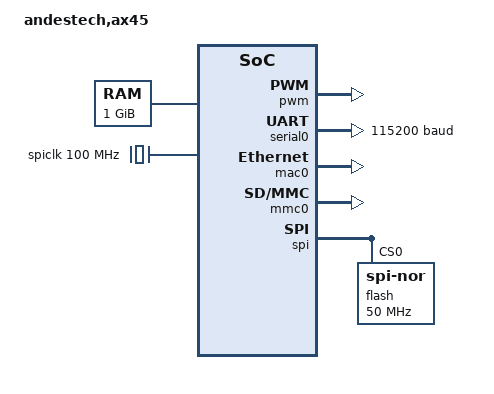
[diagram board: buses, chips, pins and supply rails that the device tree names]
/dts-v1/;

/ {
	#address-cells = <2>;
	#size-cells = <2>;
	compatible = "andestech,ae350";
	model = "andestech,ax45";
	aliases {
		uart0 = &serial0;
		spi0 = &spi;
	};

	chosen {
		bootargs = "console=ttyS0,115200n8 debug loglevel=7 earlycon=sbi";
		stdout-path = "uart0:115200n8";
	};
	cpus {
		#address-cells = <1>;
		#size-cells = <0>;
		timebase-frequency = <60000000>;
		CPU0: cpu@0 {
			device_type = "cpu";
			reg = <0>;
			status = "okay";
			compatible = "riscv";
			riscv,isa = "rv64imafdcv_sscofpmf_svpbmt_zicbom_xandes_xandespmu_xandesvmm";
			riscv,cbom-block-size = <64>;
			mmu-type = "riscv,sv48";
			clock-frequency = <60000000>;
			i-cache-size = <0x8000>;
			i-cache-sets = <256>;
			i-cache-line-size = <64>;
			i-cache-block-size = <64>;
			d-cache-size = <0x8000>;
			d-cache-sets = <128>;
			d-cache-line-size = <64>;
			d-cache-block-size = <64>;
			next-level-cache = <&L2>;
			CPU0_intc: interrupt-controller {
				#interrupt-cells = <1>;
				interrupt-controller;
				compatible = "andestech,cpu-intc", "riscv,cpu-intc";
			};
		};
	};
	L2: l2-cache@e0500000 {
		compatible = "cache";
		cache-level = <2>;
		cache-size = <0x200000>;
		reg = <0x00000000 0xe0500000 0x00000000 0x00010000>;
		andes,inst-prefetch = <3>;
		andes,data-prefetch = <3>;
		// The value format is <XRAMOCTL XRAMICTL>
		andes,tag-ram-ctl = <0 0>;
		andes,data-ram-ctl = <0 0>;
	};
	reserved-memory {
		#address-cells = <2>;
		#size-cells = <2>;
		ranges;

		hvm0: andes_hvm@90000000 {
			compatible = "andestech,hvm";
			reg = <0x0 0x90000000 0x0 0x800000>;
			andes,hvm_bank = <0x02>;
			andes,hvm_subp = <0x01>;
			no-map;
		};
		andes_inject@100000 {
			compatible = "inject";
			reg = <0x00 0x100000 0x00 0x100000>;
			reusable;
		};
	};
	memory@0 {
		reg = <0x00000000 0x00000000 0x00000000 0x40000000>;
		device_type = "memory";
	};
	soc {
		#address-cells = <2>;
		#size-cells = <2>;
		compatible = "andestech,riscv-ae350-soc", "simple-bus";
		ranges;
		plic0: interrupt-controller@e4000000 {
			compatible = "riscv,plic0";
			reg = <0x00000000 0xe4000000 0x00000000 0x02000000>;
			interrupts-extended = < &CPU0_intc 11 &CPU0_intc 9>;
			interrupt-controller;
			#address-cells = <2>;
			#interrupt-cells = <2>;
			riscv,ndev = <71>;
		};
		plic1: interrupt-controller@e6400000 {
			compatible = "andestech,plicsw";
			reg = <0x00000000 0xe6400000 0x00000000 0x00400000>;
			interrupts-extended = < &CPU0_intc 3>;
			interrupt-controller;
			#address-cells = <2>;
			#interrupt-cells = <2>;
			riscv,ndev = <1>;
		};
		plmt0: plmt0@e6000000 {
			compatible = "andestech,plmt0";
			reg = <0x00000000 0xe6000000 0x00000000 0x00100000>;
			interrupts-extended = < &CPU0_intc 7>;
		};
		spiclk: virt_100mhz {
			compatible = "fixed-clock";
			#clock-cells = <0>;
			clock-frequency = <100000000>;
		};
		timer0: timer@f0400000 {
			compatible = "andestech,atcpit100";
			reg = <0x00000000 0xf0400000 0x00000000 0x00001000>;
			interrupts = <3 4>;
			interrupt-parent = <&plic0>;
			clock-frequency = <60000000>;
		};
		pwm: pwm@f0400000 {
			compatible = "andestech,atcpit100-pwm";
			reg = <0x00000000 0xf0400000 0x00000000 0x00001000>;
			interrupts = <3 4>;
			interrupt-parent = <&plic0>;
			clock-frequency = <60000000>;
			pwm-cells = <2>;
		};
		wdt: wdt@f0500000 {
			compatible = "andestech,atcwdt200";
			reg = <0x00000000 0xf0500000 0x00000000 0x00001000>;
			interrupts = <3 4>;
			interrupt-parent = <&plic0>;
			clock-frequency = <60000000>;
		};
		serial0: serial@f0300000 {
			compatible = "andestech,uart16550", "ns16550a";
			reg = <0x00000000 0xf0300000 0x00000000 0x00001000>;
			interrupts = <9 4>;
			interrupt-parent = <&plic0>;
			clock-frequency = <19660800>;
			current-speed = <115200>;
			reg-shift = <2>;
			reg-offset = <32>;
			reg-io-width = <4>;
			no-loopback-test = <1>;
		};
		rtc0: rtc@f0600000 {
			compatible = "andestech,atcrtc100";
			reg = <0x00000000 0xf0600000 0x00000000 0x00001000>;
			interrupts = <1 4 2 4>;
			interrupt-parent = <&plic0>;
			wakeup-source;
		};
		gpio: gpio@f0700000 {
			compatible = "andestech,atcgpio100";
			reg = <0x00000000 0xf0700000 0x00000000 0x00001000>;
			interrupts = <7 4>;
			interrupt-parent = <&plic0>;
			wakeup-source;
		};
		mac0: mac@e0100000 {
			compatible = "andestech,atmac100";
			reg = <0x00000000 0xe0100000 0x00000000 0x00001000>;
			interrupts = <19 4>;
			interrupt-parent = <&plic0>;
			dma-noncoherent;
		};
		smu: smu@f0100000 {
			compatible = "andestech,atcsmu";
			reg = <0x00000000 0xf0100000 0x00000000 0x00001000>;
		};
		mmc0: mmc@f0e00000 {
			compatible = "andestech,atfsdc010";
			reg = <0x00000000 0xf0e00000 0x00000000 0x00001000>;
			interrupts = <18 4>;
			interrupt-parent = <&plic0>;
			clock-freq-min-max = <400000 100000000>;
			max-frequency = <100000000>;
			fifo-depth = <16>;
			dmas = <&dma0 9>;
			dma-names = "rxtx";
			dma-noncoherent;
		};
		dma0: dma@f0c00000 {
			compatible = "andestech,atcdmac300";
			reg = <0x00000000 0xf0c00000 0x00000000 0x00001000>;
			interrupts = <10 4>;
			interrupt-parent = <&plic0>;
			dma-channels = <8>;
			#dma-cells = <1>;
			dma-noncoherent;
		};
		pmu: pmu {
			compatible = "riscv,pmu";
			device_type = "pmu";
		};
		spi: spi@f0b00000 {
			compatible = "andestech,atcspi200";
			reg = <0x00000000 0xf0b00000 0x00000000 0x00001000>;
			interrupts = <4 4>;
			interrupt-parent = <&plic0>;
			#address-cells = <1>;
			#size-cells = <0>;
			num-cs = <1>;
			clocks = <&spiclk>;
			dmas = <&dma0 0>, <&dma0 1>;
			dma-names = "spi_tx", "spi_rx";

			flash@0 {
				compatible = "jedec,spi-nor";
				reg = <0x00000000>;
				spi-max-frequency = <50000000>;
				spi-cpol;
				spi-cpha;
			};
		};
	};
};
